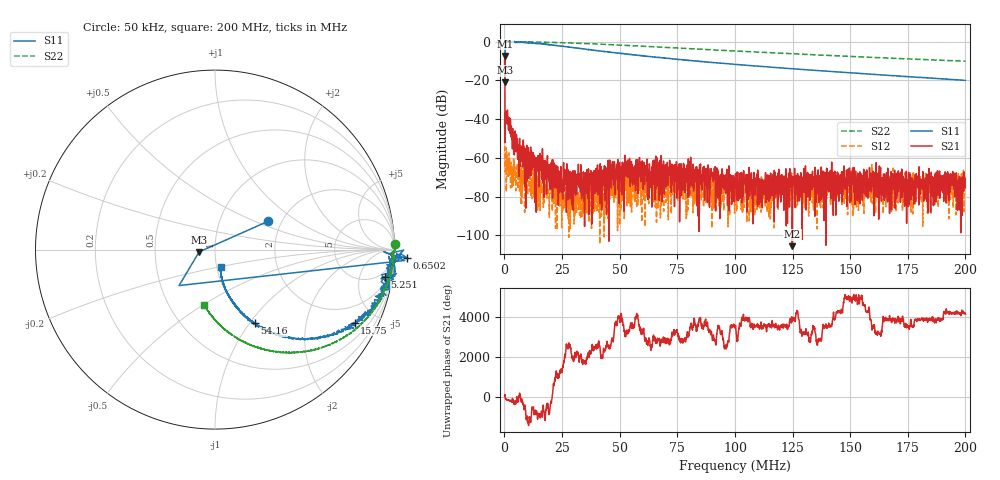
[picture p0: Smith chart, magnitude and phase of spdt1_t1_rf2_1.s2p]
! 26-Feb-26 10:40:04 AM
! E:\VNA_MEASUREMENTS\SPDT1\SPDT1_T1_RF2_1.S2P
! CHANNEL.1
! TR.MEASUREMENT
! CORRECTED.DATA
# GHZ S RI R 50.0
! FREQ.GHZ  S11RE  S11IM  S21RE  S21IM  S12RE  S12IM  S22RE  S22IM
!; PortSelection: Port_12
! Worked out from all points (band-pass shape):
!   2000 points, 50 kHz to 200 MHz, reference 50 ohm
!   highest |S21| = -7.46 dB at 150 kHz (marker M1); lowest = -105.6 dB at 124.9 MHz (marker M2)
!   |S21| within 3 dB of the highest: 111.5 kHz to 156.7 kHz (45.25 kHz wide, 33.7 % of centre)
!   lowest |S11| = -21.0 dB at 150 kHz (marker M3), VSWR 1.20, Z = 41.9 - j1.08 ohm
!   |S11| at or under -10 dB: 54.68 kHz to 258.5 kHz (203.8 kHz wide, 130 % of centre); 82.63673 MHz to 82.81055 MHz (173.8 kHz wide, 0.21 % of centre); 83.17 MHz to end of sweep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
!   |S22| runs from -10.1 to 0.0 dB; largest |S21 - S12| = 0.42
!   S11 on the Smith chart (normalised r, x): 50 kHz: 1.71, +0.61; 650.1 kHz: -21, -13; 5.251 MHz: 3, -12; 15.75 MHz: 1.07, -3.79; 54.16 MHz: 1.01, -1.06; 200 MHz: 1.05, -0.20
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5e-05  0.2969 0.1583  0.165 0.0513  -0.00732 -0.00476  1.002 0.0336
0.000150025  -0.0883 -0.0128  -0.1584 0.3928  -0.000958 -0.000603  0.9926 -0.000168
0.00065015  1.071 -0.0467  -0.00511 -0.0149  -0.000363 0.00142  0.9985 -0.0142
0.001750425  0.9763 -0.0656  -0.00511 -0.00158  -0.000612 -0.000451  0.9948 -0.0286
0.005251301  0.9473 -0.1532  -0.00335 -0.000871  -0.000193 -0.000276  0.9881 -0.0842
0.009652401  0.8894 -0.2786  0.00211 -0.000115  -9.14e-05 -0.000328  0.9722 -0.1558
0.01575393  0.778 -0.4064  -0.000464 8.53e-05  -0.000133 -2.24e-05  0.9378 -0.2457
0.02435608  0.5892 -0.4897  4.28e-05 -0.000295  8.85e-05 -4.59e-05  0.8721 -0.3536
0.03345835  0.4328 -0.4926  3.7e-05 7.96e-05  0.00012 0.00013  0.7837 -0.4431
0.05416353  0.2204 -0.4105  0.000284 0.000141  -6.58e-05 -3.13e-05  0.5649 -0.5549
0.06336583  0.1722 -0.3752  0.000112 0.000417  -0.00027 3.95e-05  0.4743 -0.5705
0.06676668  0.1563 -0.3594  0.000129 -0.000125  0.000187 4.4e-06  0.4468 -0.5734
0.08357088  0.1035 -0.2969  -1.52e-05 -5.57e-05  1.83e-05 0.000323  0.3118 -0.5646
0.09047261  0.0879 -0.2746  -0.000315 0.000281  -2.72e-05 -6.03e-05  0.2638 -0.5537
0.09297324  0.0833 -0.2673  0.000191 -0.000133  5.09e-05 -2.88e-05  0.2461 -0.548
0.100075  0.0718 -0.2498  -7.19e-05 -0.000176  9.35e-05 -5.75e-05  0.2056 -0.5359
0.1248812  0.0484 -0.1932  -5.2e-06 -8e-07  7.39e-05 -6.88e-05  0.097 -0.4769
0.1333833  0.0429 -0.1785  0.000295 -0.000196  0.000133 8.8e-06  0.0692 -0.4568
0.1666917  0.032 -0.1308  4.93e-05 -0.00016  -4.8e-05 -0.000205  -0.0136 -0.3753
0.1940985  0.032 -0.1008  -9.19e-05 -0.000239  0.000202 -1.63e-05  -0.0552 -0.3175
0.1974994  0.032 -0.0975  5e-07 -6.2e-05  -1.83e-05 -0.000339  -0.0581 -0.3111
0.2  0.032 -0.0945  -0.000159 -5.89e-05  -5.34e-05 -0.0002  -0.0623 -0.3064
